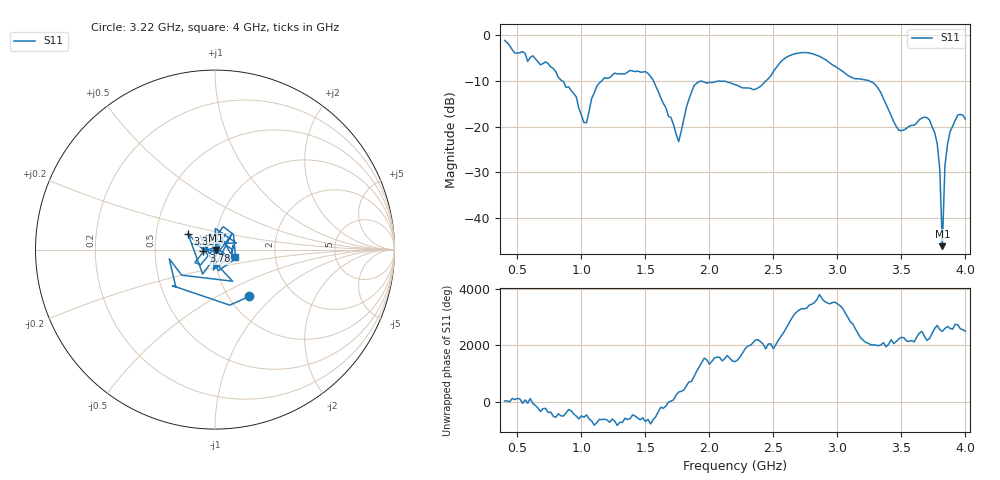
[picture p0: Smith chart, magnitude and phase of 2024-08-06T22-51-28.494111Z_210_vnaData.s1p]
!Created with skrf (http://scikit-rf.org).
# Hz S RI R 50.0
!freq ReS11 ImS11
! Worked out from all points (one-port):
!   181 points, 400 MHz to 4 GHz, reference 50 ohm
!   lowest |S11| = -46.2 dB at 3.82 GHz (marker M1), VSWR 1.01, Z = 50.5 - j0.189 ohm
!   |S11| at or under -10 dB: 851.1 MHz to 1.159 GHz (307.4 MHz wide, 30.6 % of centre); 1.563 GHz to 2.44 GHz (877.2 MHz wide, 43.8 % of centre); 3.248 GHz to end of sweep
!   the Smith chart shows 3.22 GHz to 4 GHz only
!   S11 on the Smith chart (normalised r, x): 3.22 GHz: 1.24, -0.72; 3.38 GHz: 0.73, +0.13; 3.78 GHz: 0.88, -0.02; 4 GHz: 1.25, -0.10
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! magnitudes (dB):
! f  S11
! 400 MHz  -1.1
! 580 MHz  -5.7
! 720 MHz  -5.8
! 860 MHz  -10.2
! 960 MHz  -13.5
! 1.04 GHz  -19.1
! 1.12 GHz  -11.2
! 1.3 GHz  -8.5
! 1.52 GHz  -8.4
! 1.76 GHz  -23.3
! 1.88 GHz  -11.1
! 2.2 GHz  -10.8
! 2.36 GHz  -11.8
! 2.66 GHz  -4.1
! 2.86 GHz  -4.6
! 3.1 GHz  -9.1
! 3.22 GHz  -9.8
! 3.38 GHz  -15.1
! 3.48 GHz  -20.8
! 3.56 GHz  -20.0
! 3.7 GHz  -18.1
! 3.78 GHz  -23.8
! 3.8 GHz  -29.4
! 3.82 GHz  -46.2
! 3.84 GHz  -28.7
! 3.86 GHz  -24.0
! 3.94 GHz  -17.5
! 4 GHz  -18.4
